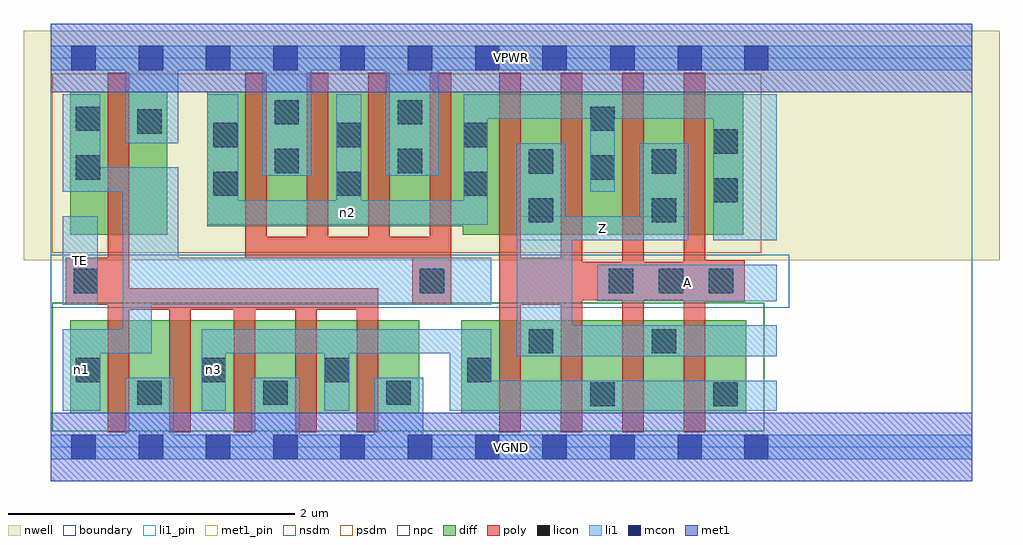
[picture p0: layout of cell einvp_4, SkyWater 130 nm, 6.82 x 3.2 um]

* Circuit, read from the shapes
.subckt einvp_4 A TE VGND VPWR Z n1 n2 n3
XM1 VGND TE n1 VSUBS sky130_fd_pr__nfet_01v8 w=0.65 l=0.15
XM2 n3 TE VGND VSUBS sky130_fd_pr__nfet_01v8 w=0.65 l=0.15 m=4
XM3 Z A n3 VSUBS sky130_fd_pr__nfet_01v8 w=0.65 l=0.15 m=4
XM4 VPWR TE n1 n4 sky130_fd_pr__pfet_01v8 w=1 l=0.15
XM5 VPWR n1 n2 n4 sky130_fd_pr__pfet_01v8 w=0.94 l=0.15 m=4
XM6 Z A n2 n4 sky130_fd_pr__pfet_01v8 w=1 l=0.15 m=4
.ends

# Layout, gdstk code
import gdstk
lib = gdstk.Library(unit=1e-6, precision=1e-09)
def R(c, l, rs):  # rectangles x0, y0, x1, y1
    for r in rs: c.add(gdstk.rectangle(r[:2], r[2:], *l))
def A(c, l, x, y, w, h, nx, ny, dx, dy):  # array of equal rectangles
    R(c, l, [(x+i*dx, y+j*dy, x+i*dx+w, y+j*dy+h) for i in range(nx) for j in range(ny)])
nwell = (64, 20)
diff = (65, 20)
poly = (66, 20)
licon = (66, 44)
li1_pin = (67, 16)
li1 = (67, 20)
mcon = (67, 44)
met1_pin = (68, 16)
met1 = (68, 20)
nsdm = (93, 44)
psdm = (94, 20)
npc = (95, 20)
boundary = (235, 4)

einvp_4 = lib.new_cell('einvp_4')
R(einvp_4, nwell, [(-0.19,1.305,6.63,2.91), (0,1.305,6.44,2.91)])
R(einvp_4, diff, [(0.135,0.235,2.575,0.885), (2.87,0.235,4.86,0.885), (0.135,1.485,0.815,2.485), (2.88,1.485,4.84,2.485), (1.095,1.545,4.84,2.485)])
A(einvp_4, poly, 1.28, 0.105, 0.15, 1.005, 3, 1, 0.43, 0)
A(einvp_4, poly, 3.135, 0.105, 0.15, 2.51, 4, 1, 0.43, 0)
A(einvp_4, poly, 1.36, 1.32, 0.15, 1.295, 3, 1, 0.43, 0)
R(einvp_4, poly, [(0.4,0.105,0.55,2.615), (0.83,0.105,0.98,1.11), (0.4,0.96,2.29,1.11), (0.105,0.995,0.55,1.325), (2.525,0.995,2.8,1.47), (2.65,0.995,2.8,2.615), (3.135,0.995,3.715,1.325), (4.425,1.015,4.85,1.305), (3.135,1.025,4.85,1.295), (1.36,1.32,2.8,1.47)])
A(einvp_4, licon, 3.9, 1.075, 0.17, 0.17, 3, 1, 0.35, 0)
R(einvp_4, licon, [(3.77,0.285,3.94,0.455), (4.63,0.285,4.8,0.455), (0.605,0.295,0.775,0.465), (1.485,0.295,1.655,0.465), (2.345,0.295,2.515,0.465), (0.175,0.455,0.345,0.625), (1.055,0.455,1.225,0.625), (1.915,0.455,2.085,0.625), (2.91,0.455,3.08,0.625), (3.34,0.655,3.51,0.825), (4.2,0.655,4.37,0.825), (0.16,1.075,0.33,1.245), (2.58,1.075,2.75,1.245), (3.34,1.57,3.51,1.74), (4.2,1.57,4.37,1.74), (4.63,1.71,4.8,1.88), (1.135,1.755,1.305,1.925), (1.995,1.755,2.165,1.925), (2.885,1.755,3.055,1.925), (0.175,1.87,0.345,2.04), (3.77,1.87,3.94,2.04), (3.34,1.91,3.51,2.08), (4.2,1.91,4.37,2.08), (1.565,1.915,1.735,2.085), (2.425,1.915,2.595,2.085), (4.63,2.05,4.8,2.22), (1.135,2.095,1.305,2.265), (1.995,2.095,2.165,2.265), (2.885,2.095,3.055,2.265), (0.605,2.19,0.775,2.36), (0.175,2.21,0.345,2.38), (3.77,2.21,3.94,2.38), (1.565,2.255,1.735,2.425), (2.425,2.255,2.595,2.425)])
R(einvp_4, li1_pin, [(0.085,0.995,0.33,1.615), (3.82,1.02,5.075,1.275), (3.255,1.445,4.455,1.615)])
R(einvp_4, li1, [(0,-0.085,6.44,0.085), (0.52,-0.085,0.86,0.485), (1.4,-0.085,1.74,0.485), (2.26,-0.085,2.605,0.485), (0.085,0.255,0.345,0.825), (1.055,0.255,1.225,0.825), (1.91,0.255,2.085,0.825), (2.79,0.255,5.075,0.465), (2.79,0.255,3.08,0.825), (3.255,0.635,3.595,2.125), (3.255,0.635,5.075,0.85), (3.255,0.635,3.645,1.615), (0.085,0.655,0.705,0.825), (0.505,0.655,0.705,1.955), (1.055,0.655,3.08,0.825), (0.085,0.995,0.33,1.615), (0.505,0.995,3.08,1.325), (0.505,0.995,0.89,1.955), (3.82,1.02,5.075,1.275), (3.255,1.445,4.455,1.615), (4.115,1.445,4.455,2.125), (4.63,1.445,5.075,2.465), (1.095,1.555,3.055,1.725), (1.095,1.555,1.31,2.465), (1.995,1.555,2.17,2.465), (2.885,1.555,3.055,2.465), (0.085,1.785,0.345,2.465), (0.085,1.785,0.89,1.955), (3.77,1.785,3.94,2.465), (1.48,1.895,1.82,2.805), (2.34,1.895,2.71,2.805), (0.52,2.125,0.89,2.805), (2.885,2.295,5.075,2.465), (0,2.635,6.44,2.805)])
A(einvp_4, mcon, 0.145, -0.085, 0.17, 0.17, 8, 2, 0.47, 2.72)
R(einvp_4, mcon, [(3.91,-0.085,4.08,0.085), (4.38,-0.085,4.55,0.085), (4.845,-0.085,5.015,0.085), (3.91,2.635,4.08,2.805), (4.38,2.635,4.55,2.805), (4.845,2.635,5.015,2.805)])
R(einvp_4, met1_pin, [(0,-0.24,6.44,0.24), (0,2.48,6.44,2.96)])
R(einvp_4, met1, [(0,-0.24,6.44,0.24), (0,2.48,6.44,2.96)])
R(einvp_4, nsdm, [(0.01,0.11,4.985,1.01)])
R(einvp_4, psdm, [(0.01,1.36,4.965,2.61)])
R(einvp_4, npc, [(0,0.975,5.16,1.345)])
R(einvp_4, boundary, [(0,0,6.44,2.72)])
einvp_4.add(gdstk.Label('A', (4.447,1.147), layer=67, texttype=5))
einvp_4.add(gdstk.Label('TE', (0.207,1.305), layer=67, texttype=5))
einvp_4.add(gdstk.Label('Z', (3.855,1.53), layer=67, texttype=5))
einvp_4.add(gdstk.Label('n3', (1.14,0.54), layer=67, texttype=5))
einvp_4.add(gdstk.Label('n1', (0.215,0.54), layer=67, texttype=5))
einvp_4.add(gdstk.Label('n2', (2.075,1.64), layer=67, texttype=5))
einvp_4.add(gdstk.Label('VPWR', (3.22,2.72), layer=68, texttype=5))
einvp_4.add(gdstk.Label('VGND', (3.22,0), layer=68, texttype=5))
einvp_4.add(gdstk.Label('A', (4.447,1.147), layer=67, texttype=16))
einvp_4.add(gdstk.Label('TE', (0.207,1.305), layer=67, texttype=16))
einvp_4.add(gdstk.Label('Z', (3.855,1.53), layer=67, texttype=16))
einvp_4.add(gdstk.Label('VPWR', (3.22,2.72), layer=68, texttype=16))
einvp_4.add(gdstk.Label('VGND', (3.22,0), layer=68, texttype=16))

lib.write_gds('einvp_4.gds')
